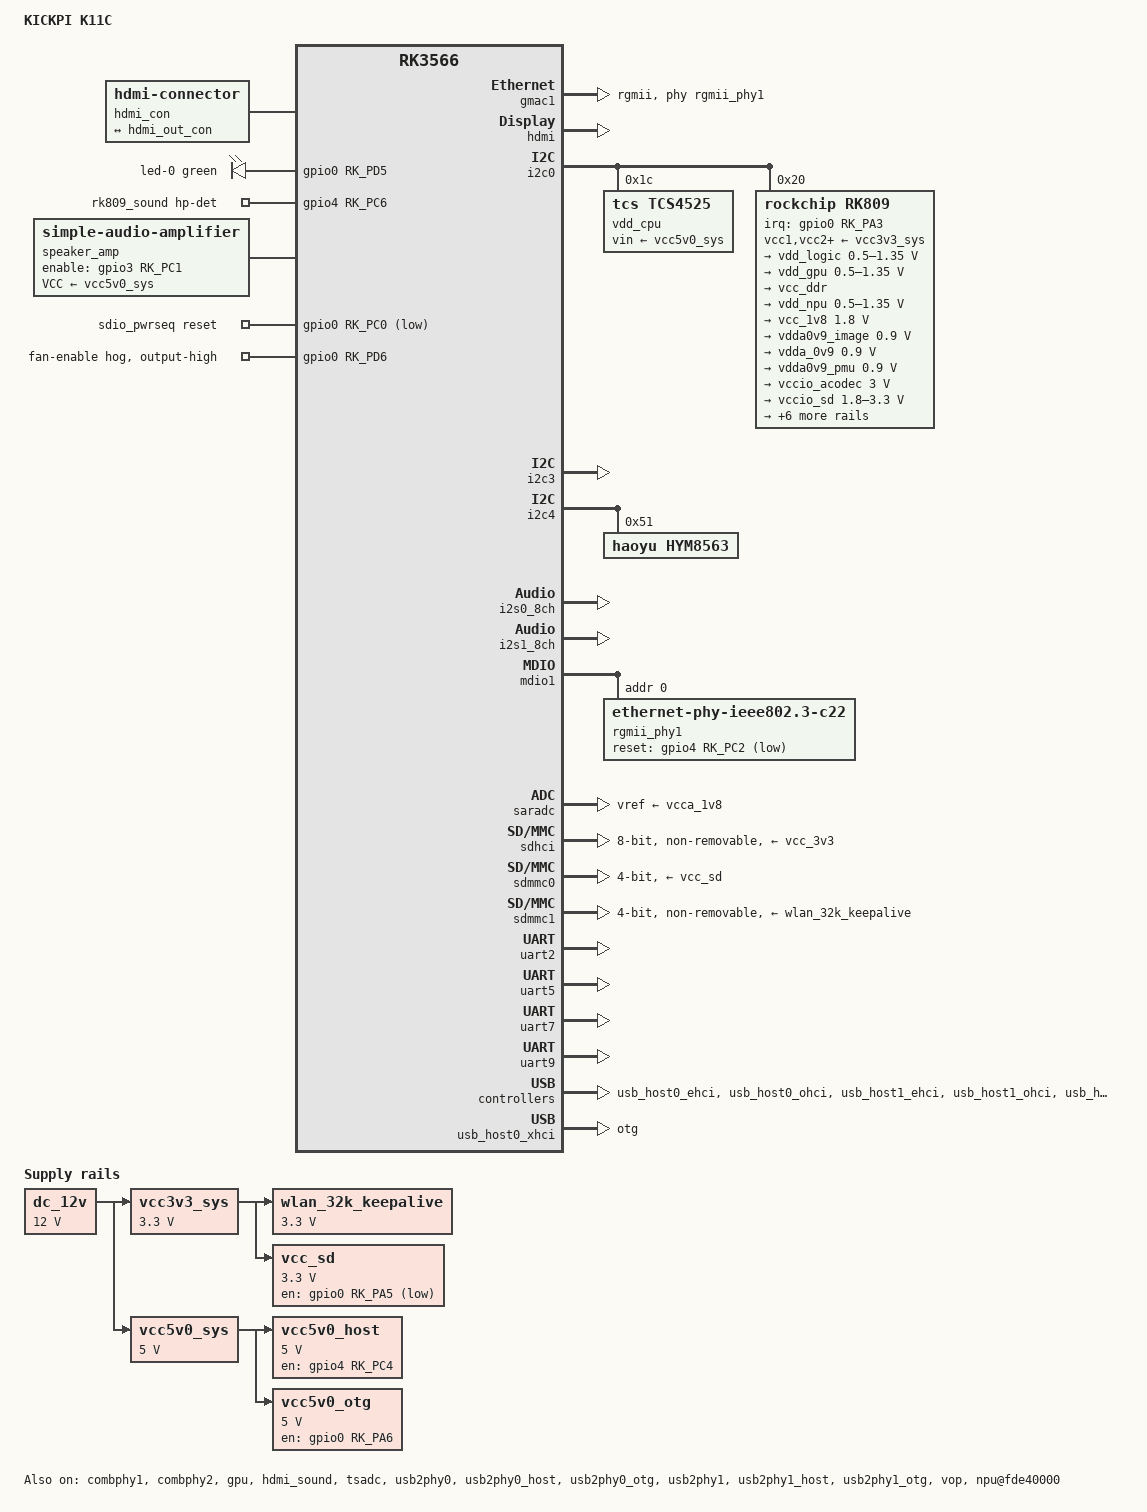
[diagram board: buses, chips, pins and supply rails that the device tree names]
// SPDX-License-Identifier: (GPL-2.0+ OR MIT)

/dts-v1/;

#include <dt-bindings/gpio/gpio.h>
#include <dt-bindings/leds/common.h>
#include <dt-bindings/pinctrl/rockchip.h>
#include <dt-bindings/soc/rockchip,vop2.h>
#include "rk3566.dtsi"

/ {
	model = "KICKPI K11C";
	compatible = "kickpi,k11c", "rockchip,rk3566";

	aliases {
		/delete-property/ serial2;
		ethernet0 = &gmac1;
		mmc0 = &sdmmc0;
		mmc1 = &sdhci;
		rtc0 = &hym8563;
		/* The RK809 RTC child inherits this alias from its PMIC parent. */
		rtc1 = &rk809;
		serial0 = &uart2;
	};

	chosen {
		stdout-path = "serial0:1500000n8";
	};

	dc_12v: regulator-12v-dcin {
		compatible = "regulator-fixed";
		regulator-name = "dc_12v";
		regulator-always-on;
		regulator-boot-on;
		regulator-min-microvolt = <12000000>;
		regulator-max-microvolt = <12000000>;
	};

	hdmi_con: hdmi-connector {
		compatible = "hdmi-connector";
		type = "a";

		port {
			hdmi_con_in: endpoint {
				remote-endpoint = <&hdmi_out_con>;
			};
		};
	};

	leds {
		compatible = "gpio-leds";
		pinctrl-names = "default";
		pinctrl-0 = <&work_led_pin>;

		led-0 {
			color = <LED_COLOR_ID_GREEN>;
			function = LED_FUNCTION_STATUS;
			gpios = <&gpio0 RK_PD5 GPIO_ACTIVE_HIGH>;
			linux,default-trigger = "heartbeat";
		};
	};

	/* K11C V1.2: RK809 headphones, differential microphone and HT6872. */
	rk809_sound: rk809-sound {
		compatible = "simple-audio-card";
		pinctrl-names = "default";
		pinctrl-0 = <&hp_det>;
		simple-audio-card,name = "Analog RK809";
		simple-audio-card,format = "i2s";
		simple-audio-card,mclk-fs = <256>;
		/* The stock card uses active-high jack detection despite HP_DET_L. */
		simple-audio-card,hp-det-gpios = <&gpio4 RK_PC6 GPIO_ACTIVE_HIGH>;
		simple-audio-card,aux-devs = <&speaker_amp>;
		simple-audio-card,widgets =
			"Headphone", "Headphones",
			"Speaker", "Speaker",
			"Microphone", "Mic Jack";
		simple-audio-card,routing =
			"Headphones", "HPOL",
			"Headphones", "HPOR",
			"Speaker Amp INL", "SPKO",
			"Speaker", "Speaker Amp OUTL",
			"MICL", "Mic Jack";

		simple-audio-card,cpu {
			sound-dai = <&i2s1_8ch>;
		};

		simple-audio-card,codec {
			sound-dai = <&rk809>;
			/* I2S1 shares TX/RX clocks: keep both hardware streams at 48 kHz. */
			system-clock-frequency = <12288000>;
			system-clock-fixed;
		};
	};

	speaker_amp: audio-amplifier {
		compatible = "simple-audio-amplifier";
		pinctrl-names = "default";
		pinctrl-0 = <&speaker_enable>;
		/* HT6872 CTRL: low shuts down; high enables. Not an always-on hog. */
		enable-gpios = <&gpio3 RK_PC1 GPIO_ACTIVE_HIGH>;
		sound-name-prefix = "Speaker Amp";
		VCC-supply = <&vcc5v0_sys>;
	};

	/* Fitted module: VS6621SR80; keep the SDIO wiring replaceable. */
	sdio_pwrseq: sdio-pwrseq {
		compatible = "mmc-pwrseq-simple";
		clocks = <&rk809 1>;
		clock-names = "ext_clock";
		pinctrl-names = "default";
		/* VS6621 requires its PCM pads muxed before SDIO enumeration. */
		pinctrl-0 = <&wifi_enable_h
			     &i2s2m0_sclktx
			     &i2s2m0_lrcktx
			     &i2s2m0_sdi
			     &i2s2m0_sdo>;
		post-power-on-delay-ms = <200>;
		reset-gpios = <&gpio0 RK_PC0 GPIO_ACTIVE_LOW>;
	};

	/* Keep the fitted VS6621SR80 reference clock alive across SDIO retries. */
	wlan_32k_keepalive: regulator-wlan-32k {
		compatible = "regulator-fixed-clock";
		clocks = <&rk809 1>;
		regulator-name = "wlan_32k_keepalive";
		regulator-always-on;
		regulator-boot-on;
		regulator-min-microvolt = <3300000>;
		regulator-max-microvolt = <3300000>;
		vin-supply = <&vcc3v3_sys>;
	};

	vcc3v3_sys: regulator-3v3-sys {
		compatible = "regulator-fixed";
		regulator-name = "vcc3v3_sys";
		regulator-always-on;
		regulator-boot-on;
		regulator-min-microvolt = <3300000>;
		regulator-max-microvolt = <3300000>;
		vin-supply = <&dc_12v>;
	};

	vcc5v0_sys: regulator-5v0-sys {
		compatible = "regulator-fixed";
		regulator-name = "vcc5v0_sys";
		regulator-always-on;
		regulator-boot-on;
		regulator-min-microvolt = <5000000>;
		regulator-max-microvolt = <5000000>;
		vin-supply = <&dc_12v>;
	};

	vcc5v0_host: regulator-5v0-usb-host {
		compatible = "regulator-fixed";
		enable-active-high;
		gpios = <&gpio4 RK_PC4 GPIO_ACTIVE_HIGH>;
		pinctrl-names = "default";
		pinctrl-0 = <&vcc5v0_host_en>;
		regulator-name = "vcc5v0_host";
		regulator-min-microvolt = <5000000>;
		regulator-max-microvolt = <5000000>;
		vin-supply = <&vcc5v0_sys>;
	};

	vcc5v0_otg: regulator-5v0-usb-otg {
		compatible = "regulator-fixed";
		enable-active-high;
		gpios = <&gpio0 RK_PA6 GPIO_ACTIVE_HIGH>;
		pinctrl-names = "default";
		pinctrl-0 = <&vcc5v0_otg_en>;
		regulator-name = "vcc5v0_otg";
		regulator-min-microvolt = <5000000>;
		regulator-max-microvolt = <5000000>;
		vin-supply = <&vcc5v0_sys>;
	};

	vcc_sd: regulator-3v3-sd {
		compatible = "regulator-fixed";
		gpios = <&gpio0 RK_PA5 GPIO_ACTIVE_LOW>;
		pinctrl-names = "default";
		pinctrl-0 = <&vcc_sd_en>;
		regulator-name = "vcc_sd";
		regulator-min-microvolt = <3300000>;
		regulator-max-microvolt = <3300000>;
		vin-supply = <&vcc3v3_sys>;
	};
};

&combphy1 {
	status = "okay";
};

&combphy2 {
	status = "okay";
};

&cpu0 {
	cpu-supply = <&vdd_cpu>;
};

&cpu1 {
	cpu-supply = <&vdd_cpu>;
};

&cpu2 {
	cpu-supply = <&vdd_cpu>;
};

&cpu3 {
	cpu-supply = <&vdd_cpu>;
};

/* No Linux DMC consumer on this board; HAOS DFI lacks DDR3 counter support. */
&dfi {
	status = "disabled";
};

&gmac1 {
	assigned-clocks = <&cru SCLK_GMAC1_RX_TX>, <&cru SCLK_GMAC1>;
	assigned-clock-parents = <&cru SCLK_GMAC1_RGMII_SPEED>,
				 <&cru CLK_MAC1_2TOP>;
	assigned-clock-rates = <0>, <125000000>;
	clock_in_out = "output";
	phy-handle = <&rgmii_phy1>;
	phy-mode = "rgmii";
	pinctrl-names = "default";
	pinctrl-0 = <&gmac1m0_miim
		     &gmac1m0_tx_bus2_level3
		     &gmac1m0_rx_bus2
		     &gmac1m0_rgmii_clk_level2
		     &gmac1m0_rgmii_bus_level3>;
	/* Vendor calibration; re-measure on the fitted PHY and PCB revision. */
	tx_delay = <0x42>;
	rx_delay = <0x39>;
	status = "okay";
};

&gpio0 {
	fan-enable-hog {
		gpio-hog;
		gpios = <RK_PD6 GPIO_ACTIVE_HIGH>;
		line-name = "fan-enable";
		output-high;
	};
};

&gpu {
	mali-supply = <&vdd_gpu>;
	status = "okay";
};

&hdmi {
	avdd-0v9-supply = <&vdda0v9_image>;
	avdd-1v8-supply = <&vcca1v8_image>;
	status = "okay";
};

&hdmi_in {
	hdmi_in_vp0: endpoint {
		remote-endpoint = <&vp0_out_hdmi>;
	};
};

&hdmi_out {
	hdmi_out_con: endpoint {
		remote-endpoint = <&hdmi_con_in>;
	};
};

&hdmi_sound {
	status = "okay";
};

&i2c0 {
	status = "okay";

	vdd_cpu: regulator@1c {
		compatible = "tcs,tcs4525";
		reg = <0x1c>;
		fcs,suspend-voltage-selector = <1>;
		regulator-name = "vdd_cpu";
		regulator-always-on;
		regulator-boot-on;
		regulator-min-microvolt = <712500>;
		regulator-max-microvolt = <1390000>;
		regulator-ramp-delay = <2300>;
		vin-supply = <&vcc5v0_sys>;

		regulator-state-mem {
			regulator-off-in-suspend;
		};
	};

	rk809: pmic@20 {
		compatible = "rockchip,rk809";
		reg = <0x20>;
		#sound-dai-cells = <0>;
		clocks = <&cru I2S1_MCLKOUT_TX>;
		clock-names = "mclk";
		assigned-clocks = <&cru I2S1_MCLKOUT_TX>;
		assigned-clock-parents = <&cru CLK_I2S1_8CH_TX>;
		#clock-cells = <1>;
		clock-output-names = "rk809-clkout1", "rk809-clkout2";
		interrupt-parent = <&gpio0>;
		interrupts = <RK_PA3 IRQ_TYPE_LEVEL_LOW>;
		pinctrl-names = "default";
		pinctrl-0 = <&pmic_int &i2s1m0_mclk>;
		system-power-controller;
		wakeup-source;

		vcc1-supply = <&vcc3v3_sys>;
		vcc2-supply = <&vcc3v3_sys>;
		vcc3-supply = <&vcc3v3_sys>;
		vcc4-supply = <&vcc3v3_sys>;
		vcc5-supply = <&vcc3v3_sys>;
		vcc6-supply = <&vcc3v3_sys>;
		vcc7-supply = <&vcc3v3_sys>;
		vcc8-supply = <&vcc3v3_sys>;
		vcc9-supply = <&vcc3v3_sys>;

		codec {
			rockchip,mic-in-differential;
		};

		regulators {
			vdd_logic: DCDC_REG1 {
				regulator-name = "vdd_logic";
				regulator-always-on;
				regulator-boot-on;
				regulator-initial-mode = <0x2>;
				regulator-min-microvolt = <500000>;
				regulator-max-microvolt = <1350000>;
				regulator-ramp-delay = <6001>;

				regulator-state-mem {
					regulator-off-in-suspend;
				};
			};

			vdd_gpu: DCDC_REG2 {
				regulator-name = "vdd_gpu";
				regulator-always-on;
				regulator-boot-on;
				regulator-initial-mode = <0x2>;
				regulator-min-microvolt = <500000>;
				regulator-max-microvolt = <1350000>;
				regulator-ramp-delay = <6001>;

				regulator-state-mem {
					regulator-off-in-suspend;
				};
			};

			vcc_ddr: DCDC_REG3 {
				regulator-name = "vcc_ddr";
				regulator-always-on;
				regulator-boot-on;
				regulator-initial-mode = <0x2>;

				regulator-state-mem {
					regulator-on-in-suspend;
				};
			};

			vdd_npu: DCDC_REG4 {
				regulator-name = "vdd_npu";
				regulator-always-on;
				regulator-boot-on;
				regulator-initial-mode = <0x2>;
				regulator-min-microvolt = <500000>;
				regulator-max-microvolt = <1350000>;
				regulator-ramp-delay = <6001>;

				regulator-state-mem {
					regulator-off-in-suspend;
				};
			};

			vcc_1v8: DCDC_REG5 {
				regulator-name = "vcc_1v8";
				regulator-always-on;
				regulator-boot-on;
				regulator-min-microvolt = <1800000>;
				regulator-max-microvolt = <1800000>;

				regulator-state-mem {
					regulator-off-in-suspend;
				};
			};

			vdda0v9_image: LDO_REG1 {
				regulator-name = "vdda0v9_image";
				regulator-always-on;
				regulator-boot-on;
				regulator-min-microvolt = <900000>;
				regulator-max-microvolt = <900000>;

				regulator-state-mem {
					regulator-off-in-suspend;
				};
			};

			vdda_0v9: LDO_REG2 {
				regulator-name = "vdda_0v9";
				regulator-always-on;
				regulator-boot-on;
				regulator-min-microvolt = <900000>;
				regulator-max-microvolt = <900000>;

				regulator-state-mem {
					regulator-off-in-suspend;
				};
			};

			vdda0v9_pmu: LDO_REG3 {
				regulator-name = "vdda0v9_pmu";
				regulator-always-on;
				regulator-boot-on;
				regulator-min-microvolt = <900000>;
				regulator-max-microvolt = <900000>;

				regulator-state-mem {
					regulator-on-in-suspend;
					regulator-suspend-microvolt = <900000>;
				};
			};

			vccio_acodec: LDO_REG4 {
				regulator-name = "vccio_acodec";
				regulator-always-on;
				regulator-boot-on;
				regulator-min-microvolt = <3000000>;
				regulator-max-microvolt = <3000000>;

				regulator-state-mem {
					regulator-off-in-suspend;
				};
			};

			vccio_sd: LDO_REG5 {
				regulator-name = "vccio_sd";
				regulator-always-on;
				regulator-boot-on;
				regulator-min-microvolt = <1800000>;
				regulator-max-microvolt = <3300000>;

				regulator-state-mem {
					regulator-off-in-suspend;
				};
			};

			vcc3v3_pmu: LDO_REG6 {
				regulator-name = "vcc3v3_pmu";
				regulator-always-on;
				regulator-boot-on;
				regulator-min-microvolt = <3300000>;
				regulator-max-microvolt = <3300000>;

				regulator-state-mem {
					regulator-on-in-suspend;
					regulator-suspend-microvolt = <3300000>;
				};
			};

			vcca_1v8: LDO_REG7 {
				regulator-name = "vcca_1v8";
				regulator-always-on;
				regulator-boot-on;
				regulator-min-microvolt = <1800000>;
				regulator-max-microvolt = <1800000>;

				regulator-state-mem {
					regulator-off-in-suspend;
				};
			};

			vcca1v8_pmu: LDO_REG8 {
				regulator-name = "vcca1v8_pmu";
				regulator-always-on;
				regulator-boot-on;
				regulator-min-microvolt = <1800000>;
				regulator-max-microvolt = <1800000>;

				regulator-state-mem {
					regulator-on-in-suspend;
					regulator-suspend-microvolt = <1800000>;
				};
			};

			vcca1v8_image: LDO_REG9 {
				regulator-name = "vcca1v8_image";
				regulator-always-on;
				regulator-boot-on;
				regulator-min-microvolt = <1800000>;
				regulator-max-microvolt = <1800000>;

				regulator-state-mem {
					regulator-off-in-suspend;
				};
			};

			vcc_3v3: SWITCH_REG1 {
				regulator-name = "vcc_3v3";
				regulator-always-on;
				regulator-boot-on;

				regulator-state-mem {
					regulator-off-in-suspend;
				};
			};

			vcc3v3_sd: SWITCH_REG2 {
				regulator-name = "vcc3v3_sd";
				regulator-always-on;
				regulator-boot-on;

				regulator-state-mem {
					regulator-off-in-suspend;
				};
			};
		};
	};
};

/* The 30-pin header's stock I2C3 mode; UART3 uses these same pads. */
&i2c3 {
	pinctrl-names = "default";
	pinctrl-0 = <&i2c3m0_xfer>;
	status = "okay";
};

&i2c4 {
	pinctrl-names = "default";
	pinctrl-0 = <&i2c4m1_xfer>;
	status = "okay";

	hym8563: rtc@51 {
		compatible = "haoyu,hym8563";
		reg = <0x51>;
		#clock-cells = <0>;
		clock-output-names = "hym8563";
	};
};

/* Internal HDMI audio link. No external header pins are used. */
&i2s0_8ch {
	status = "okay";
};

/* RK809 is wired to I2S1 mode 0, not the Wi-Fi module's I2S2 pads. */
&i2s1_8ch {
	pinctrl-names = "default";
	pinctrl-0 = <&i2s1m0_sclktx &i2s1m0_lrcktx &i2s1m0_sdi0 &i2s1m0_sdo0>;
	rockchip,trcm-sync-tx-only;
	status = "okay";
};

&mdio1 {
	rgmii_phy1: ethernet-phy@0 {
		compatible = "ethernet-phy-ieee802.3-c22";
		reg = <0>;
		eee-broken-100tx;
		eee-broken-1000t;
		reset-assert-us = <20000>;
		reset-deassert-us = <100000>;
		reset-gpios = <&gpio4 RK_PC2 GPIO_ACTIVE_LOW>;
	};
};

&pinctrl {
	audio {
		hp_det: hp-det {
			rockchip,pins = <4 RK_PC6 RK_FUNC_GPIO &pcfg_pull_up>;
		};

		speaker_enable: speaker-enable {
			rockchip,pins = <3 RK_PC1 RK_FUNC_GPIO &pcfg_pull_none>;
		};
	};

	leds {
		work_led_pin: work-led-pin {
			rockchip,pins = <0 RK_PD5 RK_FUNC_GPIO &pcfg_pull_none>;
		};
	};

	pmic {
		pmic_int: pmic-int {
			rockchip,pins = <0 RK_PA3 RK_FUNC_GPIO &pcfg_pull_up>;
		};
	};

	sdcard {
		vcc_sd_en: vcc-sd-en {
			rockchip,pins = <0 RK_PA5 RK_FUNC_GPIO &pcfg_pull_none>;
		};
	};

	sdio-pwrseq {
		wifi_enable_h: wifi-enable-h {
			rockchip,pins = <0 RK_PC0 RK_FUNC_GPIO &pcfg_pull_none>;
		};
	};

	usb {
		vcc5v0_host_en: vcc5v0-host-en {
			rockchip,pins = <4 RK_PC4 RK_FUNC_GPIO &pcfg_pull_none>;
		};

		vcc5v0_otg_en: vcc5v0-otg-en {
			rockchip,pins = <0 RK_PA6 RK_FUNC_GPIO &pcfg_pull_none>;
		};
	};
};

&pmu_io_domains {
	pmuio2-supply = <&vcca1v8_pmu>;
	vccio1-supply = <&vccio_acodec>;
	vccio3-supply = <&vccio_sd>;
	vccio4-supply = <&vcc_1v8>;
	vccio5-supply = <&vcc_1v8>;
	vccio6-supply = <&vcc_1v8>;
	vccio7-supply = <&vcc_3v3>;
	status = "okay";
};

&saradc {
	vref-supply = <&vcca_1v8>;
	status = "okay";
};

&sdhci {
	bus-width = <8>;
	cap-mmc-highspeed;
	max-frequency = <52000000>;
	no-sd;
	no-sdio;
	non-removable;
	pinctrl-names = "default";
	pinctrl-0 = <&emmc_bus8 &emmc_clk &emmc_cmd
		     &emmc_datastrobe &emmc_rstnout>;
	vmmc-supply = <&vcc_3v3>;
	vqmmc-supply = <&vcc_1v8>;
	status = "okay";
};

&sdmmc0 {
	bus-width = <4>;
	cap-sd-highspeed;
	disable-wp;
	max-frequency = <50000000>;
	pinctrl-names = "default";
	pinctrl-0 = <&sdmmc0_bus4 &sdmmc0_clk &sdmmc0_cmd &sdmmc0_det>;
	vmmc-supply = <&vcc_sd>;
	vqmmc-supply = <&vccio_sd>;
	status = "okay";
};

/* Match the clock-pad input conditioning used by the working vendor DT. */
&i2s2m0_sclktx {
	rockchip,pins = <2 RK_PC2 1 &pcfg_pull_none_smt>;
};

&i2s2m0_lrcktx {
	rockchip,pins = <2 RK_PC3 1 &pcfg_pull_none_smt>;
};

&sdmmc1 {
	bus-width = <4>;
	cap-sd-highspeed;
	cap-sdio-irq;
	disable-wp;
	keep-power-in-suspend;
	max-frequency = <150000000>;
	mmc-pwrseq = <&sdio_pwrseq>;
	no-mmc;
	no-sd;
	non-removable;
	pinctrl-names = "default";
	pinctrl-0 = <&sdmmc1_bus4 &sdmmc1_cmd &sdmmc1_clk>;
	sd-uhs-sdr104;
	/* Module VBAT is supplied by the always-on 3.3 V rail. */
	vmmc-supply = <&wlan_32k_keepalive>;
	/* Match the working vendor DT: do not describe a switchable I/O rail. */
	status = "okay";
};

&tsadc {
	rockchip,hw-tshut-mode = <1>;
	rockchip,hw-tshut-polarity = <0>;
	status = "okay";
};

&uart2 {
	status = "okay";
};

&uart5 {
	pinctrl-names = "default";
	pinctrl-0 = <&uart5m1_xfer>;
	status = "okay";
};

/* Dedicated UART modes on the 30-pin header, as in the vendor DTS. */
&uart7 {
	pinctrl-names = "default";
	pinctrl-0 = <&uart7m2_xfer>;
	status = "okay";
};

&uart9 {
	pinctrl-names = "default";
	pinctrl-0 = <&uart9m2_xfer>;
	status = "okay";
};

&usb_host0_ehci {
	status = "okay";
};

&usb_host0_ohci {
	status = "okay";
};

&usb_host0_xhci {
	dr_mode = "otg";
	status = "okay";
};

&usb_host1_ehci {
	status = "okay";
};

&usb_host1_ohci {
	status = "okay";
};

&usb_host1_xhci {
	status = "okay";
};

&usb2phy0 {
	status = "okay";
};

&usb2phy0_host {
	phy-supply = <&vcc5v0_host>;
	status = "okay";
};

&usb2phy0_otg {
	phy-supply = <&vcc5v0_otg>;
	status = "okay";
};

&usb2phy1 {
	status = "okay";
};

&usb2phy1_host {
	phy-supply = <&vcc5v0_host>;
	status = "okay";
};

&usb2phy1_otg {
	phy-supply = <&vcc5v0_host>;
	status = "okay";
};

&vop {
	assigned-clocks = <&cru DCLK_VOP0>, <&cru DCLK_VOP1>;
	assigned-clock-parents = <&pmucru PLL_HPLL>, <&cru PLL_VPLL>;
	status = "okay";
};

&vop_mmu {
	status = "okay";
};

&vp0 {
	vp0_out_hdmi: endpoint@ROCKCHIP_VOP2_EP_HDMI0 {
		reg = <ROCKCHIP_VOP2_EP_HDMI0>;
		remote-endpoint = <&hdmi_in_vp0>;
	};
};

// SPDX-License-Identifier: (GPL-2.0+ OR MIT)
// K11C V1.2 bring-up only: vendor resources, no IOMMU, one low-frequency OPP.
#include <dt-bindings/clock/rk3568-cru.h>
#include <dt-bindings/interrupt-controller/arm-gic.h>
#include <dt-bindings/interrupt-controller/irq.h>
#include <dt-bindings/power/rk3568-power.h>

/ {
	reserved-memory {
		#address-cells = <2>;
		#size-cells = <2>;
		ranges;

		k11c_npu_cma: npu-dma-pool {
			compatible = "shared-dma-pool";
			reusable;
			size = <0 0x08000000>;
			alignment = <0 0x00400000>;
			/* Let Linux allocate 128 MiB within 256 MiB .. 3.5 GiB. */
			alloc-ranges = <0 0x10000000 0 0xd0000000>;
		};
	};

	k11c_npu_opp: npu-opp-table {
		compatible = [6f 70 65 72 61 74 69 6e 67 2d 70 6f 69 6e 74 73 2d 76 32 00];
		mbist-vmin = [00 0c 96 a8 00 0d bb a0 00 0e 7e f0];
		nvmem-cells = [00 00 02 68 00 00 02 69 00 00 02 6a 00 00 02 6b 00 00 02 6c 00 00 02 6d];
		nvmem-cell-names = [6c 65 61 6b 61 67 65 00 70 76 74 6d 00 6d 62 69 73 74 2d 76 6d 69 6e 00 6f 70 70 2d 69 6e 66 6f 00 73 70 65 63 69 66 69 63 61 74 69 6f 6e 5f 73 65 72 69 61 6c 5f 6e 75 6d 62 65 72 00 72 65 6d 61 72 6b 5f 73 70 65 63 5f 73 65 72 69 61 6c 5f 6e 75 6d 62 65 72 00];
		rockchip,supported-hw;
		rockchip,max-volt = [00 0f 42 40];
		rockchip,temp-hysteresis = [00 00 13 88];
		rockchip,low-temp = [00 00 00 00];
		rockchip,low-temp-adjust-volt = [00 00 00 00 00 00 03 e8 00 00 c3 50];
		rockchip,pvtm-voltage-sel = [00 00 00 00 00 01 48 20 00 00 00 00 00 01 48 21 00 01 53 d8 00 00 00 01 00 01 53 d9 00 01 63 78 00 00 00 02 00 01 63 79 00 01 86 a0 00 00 00 03];
		rockchip,pvtm-ch = [00 00 00 00 00 00 00 05];
		phandle = [00 00 02 66];
		opp-200000000 {
			opp-supported-hw = [00 00 00 fb 00 00 ff ff];
			opp-hz = [00 00 00 00 0b eb c2 00];
			opp-microvolt = [00 0c f8 50 00 0c f8 50 00 0f 42 40];
		};
		opp-300000000 {
			opp-supported-hw = [00 00 00 fb 00 00 ff ff];
			opp-hz = [00 00 00 00 11 b3 dc 40];
			opp-microvolt = [00 0c f8 50 00 0c f8 50 00 0f 42 40];
		};
		opp-400000000 {
			opp-supported-hw = [00 00 00 fb 00 00 ff ff];
			opp-hz = [00 00 00 00 17 d7 84 00];
			opp-microvolt = [00 0c f8 50 00 0c f8 50 00 0f 42 40];
		};
		opp-600000000 {
			opp-supported-hw = [00 00 00 fb 00 00 ff ff];
			opp-hz = [00 00 00 00 23 c3 46 00];
			opp-microvolt = [00 0c f8 50 00 0c f8 50 00 0f 42 40];
		};
		opp-700000000 {
			opp-supported-hw = [00 00 00 fb 00 00 ff ff];
			opp-hz = [00 00 00 00 29 b9 27 00];
			opp-microvolt = [00 0d 59 f8 00 0d 59 f8 00 0f 42 40];
			opp-microvolt-L0 = [00 0d 59 f8 00 0d 59 f8 00 0f 42 40];
			opp-microvolt-L1 = [00 0c f8 50 00 0c f8 50 00 0f 42 40];
			opp-microvolt-L2 = [00 0c f8 50 00 0c f8 50 00 0f 42 40];
			opp-microvolt-L3 = [00 0c f8 50 00 0c f8 50 00 0f 42 40];
		};
		opp-800000000 {
			opp-supported-hw = [00 00 00 fb 00 00 ff ff];
			opp-hz = [00 00 00 00 2f af 08 00];
			opp-microvolt = [00 0e 1d 48 00 0e 1d 48 00 0f 42 40];
			opp-microvolt-L0 = [00 0e 1d 48 00 0e 1d 48 00 0f 42 40];
			opp-microvolt-L1 = [00 0d bb a0 00 0d bb a0 00 0f 42 40];
			opp-microvolt-L2 = [00 0d 59 f8 00 0d 59 f8 00 0f 42 40];
			opp-microvolt-L3 = [00 0d 59 f8 00 0d 59 f8 00 0f 42 40];
		};
		opp-900000000 {
			opp-supported-hw = [00 00 00 f9 00 00 ff ff];
			opp-hz = [00 00 00 00 35 a4 e9 00];
			opp-microvolt = [00 0e e0 98 00 0e e0 98 00 0f 42 40];
			opp-microvolt-L0 = [00 0e e0 98 00 0e e0 98 00 0f 42 40];
			opp-microvolt-L1 = [00 0e 7e f0 00 0e 7e f0 00 0f 42 40];
			opp-microvolt-L2 = [00 0e 1d 48 00 0e 1d 48 00 0f 42 40];
			opp-microvolt-L3 = [00 0d bb a0 00 0d bb a0 00 0f 42 40];
		};
		opp-1000000000 {
			opp-supported-hw = [00 00 00 f9 00 00 ff ff];
			opp-hz = [00 00 00 00 3b 9a ca 00];
			opp-microvolt = [00 0f 42 40 00 0f 42 40 00 0f 42 40];
			opp-microvolt-L0 = [00 0f 42 40 00 0f 42 40 00 0f 42 40];
			opp-microvolt-L1 = [00 0e e0 98 00 0e e0 98 00 0f 42 40];
			opp-microvolt-L2 = [00 0e 7e f0 00 0e 7e f0 00 0f 42 40];
			opp-microvolt-L3 = [00 0e 1d 48 00 0e 1d 48 00 0f 42 40];
			status = [64 69 73 61 62 6c 65 64 00];
		};
		opp-j-600000000 {
			opp-supported-hw = [00 00 00 04 00 00 ff ff];
			opp-hz = [00 00 00 00 23 c3 46 00];
			opp-microvolt = [00 0d bb a0 00 0d bb a0 00 0f 42 40];
		};
		opp-m-900000000 {
			opp-supported-hw = [00 00 00 02 00 00 ff ff];
			opp-hz = [00 00 00 00 35 a4 e9 00];
			opp-microvolt = [00 0e 1d 48 00 0e 1d 48 00 0f 42 40];
		};
	};

	npu@fde40000 {
		compatible = "rockchip,rk3568-rknpu", "rockchip,rknpu";
		reg = <0 0xfde40000 0 0x10000>;
		interrupts = <GIC_SPI 151 IRQ_TYPE_LEVEL_HIGH>;
		interrupt-names = "npu_irq";
		/* Stock K11C SCMI clock IDs: CPU=0, GPU=1, NPU=2. */
		clocks = <&scmi_clk 2>, <&cru CLK_NPU>,
			 <&cru ACLK_NPU>, <&cru HCLK_NPU>;
		clock-names = "scmi_clk", "clk", "aclk", "hclk";
		assigned-clocks = <&cru CLK_NPU>;
		assigned-clock-rates = <600000000>;
		resets = <&cru SRST_A_NPU>, <&cru SRST_H_NPU>;
		reset-names = "srst_a", "srst_h";
		power-domains = <&power RK3568_PD_NPU>;
		operating-points-v2 = <&k11c_npu_opp>;
		rknpu-supply = <&vdd_npu>;
		memory-region = <&k11c_npu_cma>;
		/* Deliberately no iommus: use the driver's DMA32/CMA backend. */
		status = "okay";
	};
};

&power {
	power-domain@6 {
		reg = <RK3568_PD_NPU>;
		clocks = <&cru ACLK_NPU_PRE>, <&cru HCLK_NPU_PRE>,
			 <&cru PCLK_NPU_PRE>;
		pm_qos = <&qos_npu>;
		#power-domain-cells = <0>;
	};
};

/ {
	otp@fe38c000 {
		compatible = [72 6f 63 6b 63 68 69 70 2c 72 6b 33 35 36 38 2d 6f 74 70 00];
		reg = [00 00 00 00 fe 38 c0 00 00 00 00 00 00 00 40 00];
		#address-cells = [00 00 00 01];
		#size-cells = [00 00 00 01];
		clocks = [00 00 00 0f 00 00 00 73 00 00 00 0f 00 00 00 72 00 00 00 0f 00 00 00 71 00 00 00 0f 00 00 01 81];
		clock-names = [75 73 72 00 73 62 70 69 00 61 70 62 00 70 68 79 00];
		resets = [00 00 00 0f 00 00 01 cf];
		reset-names = [6f 74 70 5f 70 68 79 00];
		npu-leakage@1c {
			reg = [00 00 00 1c 00 00 00 01];
			phandle = [00 00 02 68];
		};
		core-pvtm@2a {
			reg = [00 00 00 2a 00 00 00 02];
			phandle = [00 00 02 69];
		};
		mbist-vmin@9 {
			reg = [00 00 00 09 00 00 00 01];
			bits = [00 00 00 00 00 00 00 04];
			phandle = [00 00 02 6a];
		};
		npu-opp-info@42 {
			reg = [00 00 00 42 00 00 00 06];
			phandle = [00 00 02 6b];
		};
		specification-serial-number@7 {
			reg = [00 00 00 07 00 00 00 01];
			bits = [00 00 00 00 00 00 00 05];
			phandle = [00 00 02 6c];
		};
		remark-spec-serial-number@56 {
			reg = [00 00 00 56 00 00 00 01];
			bits = [00 00 00 00 00 00 00 05];
			phandle = [00 00 02 6d];
		};
	};
};
&{/npu@fde40000} { k11c,vendor-policy = <1>; k11c,thermal-zone = <0x118>; };
&vdd_npu { regulator-init-microvolt = <900000>; };
&{/thermal-zones/cpu-thermal} { phandle = <0x118>; };
